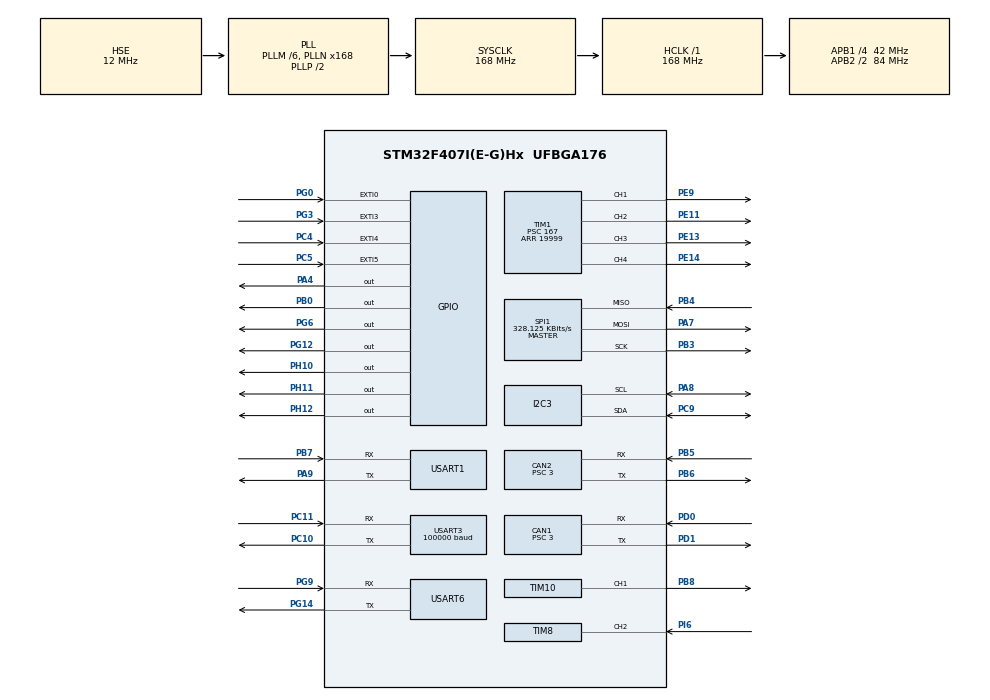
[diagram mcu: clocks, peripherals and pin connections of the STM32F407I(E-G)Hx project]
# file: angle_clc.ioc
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CAN1.BS1=CAN_BS1_10TQ
CAN1.BS2=CAN_BS2_3TQ
CAN1.CalculateBaudRate=1000000
CAN1.CalculateTimeBit=1000
CAN1.CalculateTimeQuantum=71.42857142857143
CAN1.Prescaler=3
CAN2.BS1=CAN_BS1_10TQ
CAN2.BS2=CAN_BS2_3TQ
CAN2.CalculateBaudRate=1000000
CAN2.CalculateTimeBit=1000
CAN2.CalculateTimeQuantum=71.42857142857143
CAN2.Prescaler=3
Dma.Request0=SPI1_RX
Dma.Request1=SPI1_TX
Dma.Request2=USART3_RX
Dma.Request3=USART1_RX
Dma.Request4=USART1_TX
Dma.Request5=USART6_RX
Dma.Request6=USART6_TX
Dma.SPI1_RX.0.Direction=DMA_PERIPH_TO_MEMORY
Dma.SPI1_RX.0.FIFOMode=DMA_FIFOMODE_DISABLE
Dma.SPI1_RX.0.Instance=DMA2_Stream2
Dma.SPI1_RX.0.MemDataAlignment=DMA_MDATAALIGN_BYTE
Dma.SPI1_RX.0.MemInc=DMA_MINC_ENABLE
Dma.SPI1_RX.0.Mode=DMA_NORMAL
Dma.SPI1_RX.0.PeriphDataAlignment=DMA_PDATAALIGN_BYTE
Dma.SPI1_RX.0.PeriphInc=DMA_PINC_DISABLE
Dma.SPI1_RX.0.Priority=DMA_PRIORITY_VERY_HIGH
Dma.SPI1_TX.1.Direction=DMA_MEMORY_TO_PERIPH
Dma.SPI1_TX.1.FIFOMode=DMA_FIFOMODE_DISABLE
Dma.SPI1_TX.1.Instance=DMA2_Stream3
Dma.SPI1_TX.1.MemDataAlignment=DMA_MDATAALIGN_BYTE
Dma.SPI1_TX.1.MemInc=DMA_MINC_ENABLE
Dma.SPI1_TX.1.Mode=DMA_NORMAL
Dma.SPI1_TX.1.PeriphDataAlignment=DMA_PDATAALIGN_BYTE
Dma.SPI1_TX.1.PeriphInc=DMA_PINC_DISABLE
Dma.SPI1_TX.1.Priority=DMA_PRIORITY_HIGH
Dma.USART1_RX.3.Direction=DMA_PERIPH_TO_MEMORY
Dma.USART1_RX.3.FIFOMode=DMA_FIFOMODE_DISABLE
Dma.USART1_RX.3.Instance=DMA2_Stream5
Dma.USART1_RX.3.MemDataAlignment=DMA_MDATAALIGN_BYTE
Dma.USART1_RX.3.MemInc=DMA_MINC_ENABLE
Dma.USART1_RX.3.Mode=DMA_NORMAL
Dma.USART1_RX.3.PeriphDataAlignment=DMA_PDATAALIGN_BYTE
Dma.USART1_RX.3.PeriphInc=DMA_PINC_DISABLE
Dma.USART1_RX.3.Priority=DMA_PRIORITY_LOW
Dma.USART1_TX.4.Direction=DMA_MEMORY_TO_PERIPH
Dma.USART1_TX.4.FIFOMode=DMA_FIFOMODE_DISABLE
Dma.USART1_TX.4.Instance=DMA2_Stream7
Dma.USART1_TX.4.MemDataAlignment=DMA_MDATAALIGN_BYTE
Dma.USART1_TX.4.MemInc=DMA_MINC_ENABLE
Dma.USART1_TX.4.Mode=DMA_NORMAL
Dma.USART1_TX.4.PeriphDataAlignment=DMA_PDATAALIGN_BYTE
Dma.USART1_TX.4.PeriphInc=DMA_PINC_DISABLE
Dma.USART1_TX.4.Priority=DMA_PRIORITY_LOW
Dma.USART3_RX.2.Direction=DMA_PERIPH_TO_MEMORY
Dma.USART3_RX.2.FIFOMode=DMA_FIFOMODE_DISABLE
Dma.USART3_RX.2.Instance=DMA1_Stream1
Dma.USART3_RX.2.MemDataAlignment=DMA_MDATAALIGN_BYTE
Dma.USART3_RX.2.MemInc=DMA_MINC_ENABLE
Dma.USART3_RX.2.Mode=DMA_NORMAL
Dma.USART3_RX.2.PeriphDataAlignment=DMA_PDATAALIGN_BYTE
Dma.USART3_RX.2.PeriphInc=DMA_PINC_DISABLE
Dma.USART3_RX.2.Priority=DMA_PRIORITY_LOW
Dma.USART6_RX.5.Direction=DMA_PERIPH_TO_MEMORY
Dma.USART6_RX.5.FIFOMode=DMA_FIFOMODE_DISABLE
Dma.USART6_RX.5.Instance=DMA2_Stream1
Dma.USART6_RX.5.MemDataAlignment=DMA_MDATAALIGN_BYTE
Dma.USART6_RX.5.MemInc=DMA_MINC_ENABLE
Dma.USART6_RX.5.Mode=DMA_NORMAL
Dma.USART6_RX.5.PeriphDataAlignment=DMA_PDATAALIGN_BYTE
Dma.USART6_RX.5.PeriphInc=DMA_PINC_DISABLE
Dma.USART6_RX.5.Priority=DMA_PRIORITY_HIGH
Dma.USART6_TX.6.Direction=DMA_MEMORY_TO_PERIPH
Dma.USART6_TX.6.FIFOMode=DMA_FIFOMODE_DISABLE
Dma.USART6_TX.6.Instance=DMA2_Stream6
Dma.USART6_TX.6.MemDataAlignment=DMA_MDATAALIGN_BYTE
Dma.USART6_TX.6.MemInc=DMA_MINC_ENABLE
Dma.USART6_TX.6.Mode=DMA_NORMAL
Dma.USART6_TX.6.PeriphDataAlignment=DMA_PDATAALIGN_BYTE
Dma.USART6_TX.6.PeriphInc=DMA_PINC_DISABLE
Dma.USART6_TX.6.Priority=DMA_PRIORITY_VERY_HIGH
FREERTOS.INCLUDE_xTaskGetHandle=1
FREERTOS.Tasks01=defaultTask,0,128,StartDefaultTask,Default,NULL,Dynamic,NULL,NULL;INS_TASK,3,128,INS_Task,As weak,NULL,Dynamic,NULL,NULL;try_try,0,128,Try_Try,As weak,NULL,Dynamic,NULL,NULL;CHASSISS_CALC,1,512,chassiss_calc,As weak,NULL,Dynamic,NULL,NULL;FSM_TASK,0,128,FSM_task,As weak,NULL,Dynamic,NULL,NULL;GIMBAL_CALC,0,128,gimbal_calc,As weak,NULL,Dynamic,NULL,NULL;ROAD_CALC,0,128,road_calc,As weak,NULL,Dynamic,NULL,NULL;C_TOSTM,0,128,c_tostm,As weak,NULL,Dynamic,NULL,NULL;LUENBERGER_CALC,3,128,Luenberger_calc,As weak,NULL,Dynamic,NULL,NULL;motor_3508_task,0,128,Motor_3508_task,As weak,NULL,Dynamic,NULL,NULL
I2C3.I2C_Mode=I2C_Fast
Mcu.Family=STM32F4
Mcu.Name=STM32F407I(E-G)Hx
Mcu.Package=UFBGA176
NVIC.CAN1_RX0_IRQn=true\:5\:0\:false\:false\:true\:true\:true\:true\:true
NVIC.CAN2_RX0_IRQn=true\:5\:0\:false\:false\:true\:true\:true\:true\:true
NVIC.DMA1_Stream1_IRQn=true\:5\:0\:false\:false\:true\:true\:false\:true\:true
NVIC.DMA2_Stream1_IRQn=true\:5\:0\:false\:false\:true\:true\:false\:true\:true
NVIC.DMA2_Stream2_IRQn=true\:5\:0\:false\:false\:true\:true\:false\:true\:true
NVIC.DMA2_Stream3_IRQn=true\:5\:0\:false\:false\:true\:true\:false\:true\:true
NVIC.DMA2_Stream5_IRQn=true\:5\:0\:false\:false\:true\:true\:false\:true\:true
NVIC.DMA2_Stream6_IRQn=true\:5\:0\:false\:false\:true\:true\:false\:true\:true
NVIC.DMA2_Stream7_IRQn=true\:5\:0\:false\:false\:true\:true\:false\:true\:true
NVIC.EXTI0_IRQn=true\:5\:0\:false\:false\:true\:true\:true\:true\:true
NVIC.EXTI3_IRQn=true\:5\:0\:false\:false\:true\:true\:true\:true\:true
NVIC.EXTI4_IRQn=true\:5\:0\:false\:false\:true\:true\:true\:true\:true
NVIC.EXTI9_5_IRQn=true\:5\:0\:false\:false\:true\:true\:true\:true\:true
NVIC.PriorityGroup=NVIC_PRIORITYGROUP_4
NVIC.TIM2_IRQn=true\:15\:0\:false\:false\:true\:false\:false\:true\:true
NVIC.TIM8_CC_IRQn=true\:5\:0\:false\:false\:true\:true\:true\:true\:true
NVIC.TIM8_TRG_COM_TIM14_IRQn=true\:5\:0\:false\:false\:true\:true\:true\:true\:true
NVIC.TimeBase=TIM2_IRQn
NVIC.TimeBaseIP=TIM2
NVIC.USART1_IRQn=true\:5\:0\:false\:false\:true\:true\:true\:true\:true
NVIC.USART3_IRQn=true\:5\:0\:false\:false\:true\:true\:true\:true\:true
NVIC.USART6_IRQn=true\:5\:0\:false\:false\:true\:true\:true\:true\:true
PA13.Mode=Serial_Wire
PA13.Signal=SYS_JTMS-SWDIO
PA14.Mode=Serial_Wire
PA14.Signal=SYS_JTCK-SWCLK
PA4.GPIO_PuPd=GPIO_PULLUP
PA4.GPIO_Speed=GPIO_SPEED_FREQ_HIGH
PA4.PinState=GPIO_PIN_SET
PA4.Signal=GPIO_Output
PA7.Mode=Full_Duplex_Master
PA7.Signal=SPI1_MOSI
PA8.Mode=I2C
PA8.Signal=I2C3_SCL
PA9.Mode=Asynchronous
PA9.Signal=USART1_TX
PB0.GPIO_PuPd=GPIO_PULLUP
PB0.GPIO_Speed=GPIO_SPEED_FREQ_HIGH
PB0.PinState=GPIO_PIN_SET
PB0.Signal=GPIO_Output
PB3.Mode=Full_Duplex_Master
PB3.Signal=SPI1_SCK
PB4.Mode=Full_Duplex_Master
PB4.Signal=SPI1_MISO
PB5.Mode=CAN_Activate
PB5.Signal=CAN2_RX
PB6.Mode=CAN_Activate
PB6.Signal=CAN2_TX
PB7.Mode=Asynchronous
PB7.Signal=USART1_RX
PB8.Signal=S_TIM10_CH1
PC10.Mode=Asynchronous
PC10.Signal=USART3_TX
PC11.Mode=Asynchronous
PC11.Signal=USART3_RX
PC4.GPIO_PuPd=GPIO_PULLUP
PC4.Signal=GPXTI4
PC5.GPIO_PuPd=GPIO_PULLUP
PC5.Signal=GPXTI5
PC9.Mode=I2C
PC9.Signal=I2C3_SDA
PD0.Mode=CAN_Activate
PD0.Signal=CAN1_RX
PD1.Mode=CAN_Activate
PD1.Signal=CAN1_TX
PE11.Signal=S_TIM1_CH2
PE13.Signal=S_TIM1_CH3
PE14.Signal=S_TIM1_CH4
PE9.Signal=S_TIM1_CH1
PG0.GPIO_PuPd=GPIO_PULLUP
PG0.Signal=GPXTI0
PG12.Signal=GPIO_Output
PG14.Mode=Asynchronous
PG14.Signal=USART6_TX
PG3.GPIO_PuPd=GPIO_NOPULL
PG3.Signal=GPXTI3
PG6.Signal=GPIO_Output
PG9.Mode=Asynchronous
PG9.Signal=USART6_RX
PH0-OSC_IN.Mode=HSE-External-Oscillator
PH0-OSC_IN.Signal=RCC_OSC_IN
PH1-OSC_OUT.Mode=HSE-External-Oscillator
PH1-OSC_OUT.Signal=RCC_OSC_OUT
PH10.GPIO_PuPd=GPIO_PULLDOWN
PH10.GPIO_Speed=GPIO_SPEED_FREQ_HIGH
PH10.Signal=GPIO_Output
PH11.GPIO_PuPd=GPIO_PULLDOWN
PH11.GPIO_Speed=GPIO_SPEED_FREQ_VERY_HIGH
PH11.Signal=GPIO_Output
PH12.GPIO_PuPd=GPIO_PULLDOWN
PH12.GPIO_Speed=GPIO_SPEED_FREQ_VERY_HIGH
PH12.Signal=GPIO_Output
PI6.Signal=S_TIM8_CH2
ProjectManager.HeapSize=0x200
ProjectManager.StackSize=0x400
ProjectManager.TargetToolchain=MDK-ARM V5.32
RCC.48MHZClocksFreq_Value=84000000
RCC.AHBFreq_Value=168000000
RCC.APB1CLKDivider=RCC_HCLK_DIV4
RCC.APB1Freq_Value=42000000
RCC.APB1TimFreq_Value=84000000
RCC.APB2CLKDivider=RCC_HCLK_DIV2
RCC.APB2Freq_Value=84000000
RCC.APB2TimFreq_Value=168000000
RCC.CortexFreq_Value=168000000
RCC.HCLKFreq_Value=168000000
RCC.HSE_VALUE=12000000
RCC.HSI_VALUE=16000000
RCC.LSE_VALUE=32768
RCC.PLLM=6
RCC.PLLN=168
RCC.PLLSourceVirtual=RCC_PLLSOURCE_HSE
RCC.SYSCLKFreq_VALUE=168000000
RCC.SYSCLKSource=RCC_SYSCLKSOURCE_PLLCLK
RCC.VCOOutputFreq_Value=336000000
SH.S_TIM10_CH1.0=TIM10_CH1,Output Compare1 CH1
SH.S_TIM1_CH1.0=TIM1_CH1,PWM Generation1 CH1
SH.S_TIM1_CH2.0=TIM1_CH2,PWM Generation2 CH2
SH.S_TIM1_CH3.0=TIM1_CH3,PWM Generation3 CH3
SH.S_TIM1_CH4.0=TIM1_CH4,PWM Generation4 CH4
SH.S_TIM8_CH2.0=TIM8_CH2,Input_Capture2_from_TI2
SPI1.BaudRatePrescaler=SPI_BAUDRATEPRESCALER_256
SPI1.CLKPhase=SPI_PHASE_2EDGE
SPI1.CLKPolarity=SPI_POLARITY_HIGH
SPI1.CalculateBaudRate=328.125 KBits/s
SPI1.Direction=SPI_DIRECTION_2LINES
SPI1.Mode=SPI_MODE_MASTER
SPI1.VirtualType=VM_MASTER
TIM1.Channel-PWM\ Generation1\ CH1=TIM_CHANNEL_1
TIM1.Channel-PWM\ Generation2\ CH2=TIM_CHANNEL_2
TIM1.Channel-PWM\ Generation3\ CH3=TIM_CHANNEL_3
TIM1.Channel-PWM\ Generation4\ CH4=TIM_CHANNEL_4
TIM1.Period=19999
TIM1.Prescaler=167
TIM10.Channel=TIM_CHANNEL_1
TIM14.Period=999
TIM14.Prescaler=83
TIM8.Channel-Input_Capture2_from_TI2=TIM_CHANNEL_2
TIM8.ICPolarity_CH2=TIM_INPUTCHANNELPOLARITY_FALLING
TIM8.Prescaler=167
USART1.VirtualMode=VM_ASYNC
USART3.BaudRate=100000
USART3.VirtualMode=VM_ASYNC
USART6.VirtualMode=VM_ASYNC
VP_FREERTOS_VS_CMSIS_V1.Mode=CMSIS_V1
VP_SYS_VS_tim2.Mode=TIM2
VP_TIM10_VS_ClockSourceINT.Mode=Enable_Timer
VP_TIM14_VS_ClockSourceINT.Mode=Enable_Timer
board=custom

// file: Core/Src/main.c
/* USER CODE BEGIN Header */
/**
  ******************************************************************************
  * @file           : main.c
  * @brief          : Main program body
  ******************************************************************************
  * @attention
  *
  * Copyright (c) 2026 STMicroelectronics.
  * All rights reserved.
  *
  * This software is licensed under terms that can be found in the LICENSE file
  * in the root directory of this software component.
  * If no LICENSE file comes with this software, it is provided AS-IS.
  *
  ******************************************************************************
  */
/* USER CODE END Header */
#include "main.h"
#include "cmsis_os.h"
#include "can.h"
#include "dma.h"
#include "i2c.h"
#include "spi.h"
#include "tim.h"
#include "usart.h"
#include "gpio.h"

/* USER CODE BEGIN Includes */
#include "bsp_can.h"
#include "bsp_delay.h"
#include "Luenberger.h"
#include "chassiss_calc.h"
/* USER CODE END Includes */

/* USER CODE BEGIN PTD */
extern speed_f speed;
extern speed_f speed_l;
extern position_ecd position_0,position_1,position_2,position_3,position_g;
extern Luenberger_data Luenberger;
extern L_t L;
void Luenberger_cal(Luenberger_data *l , position_ecd *p , L_t *L);
/* USER CODE END PTD */

/* USER CODE BEGIN PV */
extern TIM_HandleTypeDef htim14;
/* USER CODE END PV */

void SystemClock_Config(void);
void MX_FREERTOS_Init(void);

int main(void)
{

  /* MCU Configuration--------------------------------------------------------*/

  /* Reset of all peripherals, Initializes the Flash interface and the Systick. */
  HAL_Init();

  /* Configure the system clock */
  SystemClock_Config();

  /* USER CODE BEGIN SysInit */
	delay_init();
  /* USER CODE END SysInit */

  /* Initialize all configured peripherals */
  MX_GPIO_Init();
  MX_DMA_Init();
  MX_I2C3_Init();
  MX_SPI1_Init();
  MX_TIM10_Init();
  MX_CAN2_Init();
  MX_CAN1_Init();
  MX_USART3_UART_Init();
  MX_USART1_UART_Init();
  MX_USART6_UART_Init();
  MX_TIM8_Init();
  MX_TIM14_Init();
  MX_TIM1_Init();
  /* USER CODE BEGIN 2 */
	can_filter_init();
	HAL_TIM_Base_Start_IT(&htim14);
  /* USER CODE END 2 */

  /* Call init function for freertos objects (in cmsis_os2.c) */
  MX_FREERTOS_Init();

  /* Start scheduler */
  osKernelStart();

  /* We should never get here as control is now taken by the scheduler */

  /* Infinite loop */
  while (1)
  {

  }
}

void SystemClock_Config(void)
{
  RCC_OscInitTypeDef RCC_OscInitStruct = {0};
  RCC_ClkInitTypeDef RCC_ClkInitStruct = {0};

  /** Configure the main internal regulator output voltage
  */
  __HAL_RCC_PWR_CLK_ENABLE();
  __HAL_PWR_VOLTAGESCALING_CONFIG(PWR_REGULATOR_VOLTAGE_SCALE1);

  /** Initializes the RCC Oscillators according to the specified parameters
  * in the RCC_OscInitTypeDef structure.
  */
  RCC_OscInitStruct.OscillatorType = RCC_OSCILLATORTYPE_HSE;
  RCC_OscInitStruct.HSEState = RCC_HSE_ON;
  RCC_OscInitStruct.PLL.PLLState = RCC_PLL_ON;
  RCC_OscInitStruct.PLL.PLLSource = RCC_PLLSOURCE_HSE;
  RCC_OscInitStruct.PLL.PLLM = 6;
  RCC_OscInitStruct.PLL.PLLN = 168;
  RCC_OscInitStruct.PLL.PLLP = RCC_PLLP_DIV2;
  RCC_OscInitStruct.PLL.PLLQ = 4;
  if (HAL_RCC_OscConfig(&RCC_OscInitStruct) != HAL_OK)
  {
    Error_Handler();
  }

  /** Initializes the CPU, AHB and APB buses clocks
  */
  RCC_ClkInitStruct.ClockType = RCC_CLOCKTYPE_HCLK|RCC_CLOCKTYPE_SYSCLK
                              |RCC_CLOCKTYPE_PCLK1|RCC_CLOCKTYPE_PCLK2;
  RCC_ClkInitStruct.SYSCLKSource = RCC_SYSCLKSOURCE_PLLCLK;
  RCC_ClkInitStruct.AHBCLKDivider = RCC_SYSCLK_DIV1;
  RCC_ClkInitStruct.APB1CLKDivider = RCC_HCLK_DIV4;
  RCC_ClkInitStruct.APB2CLKDivider = RCC_HCLK_DIV2;

  if (HAL_RCC_ClockConfig(&RCC_ClkInitStruct, FLASH_LATENCY_5) != HAL_OK)
  {
    Error_Handler();
  }
}

void HAL_TIM_PeriodElapsedCallback(TIM_HandleTypeDef *htim)
{
  if (htim->Instance == TIM2)
  {
    HAL_IncTick();
  }
  /* USER CODE BEGIN Callback 1 */
	if(htim->Instance == TIM14){
			if(fabs(speed.speed_vechicle)>30){
		Luenberger_cal(&Luenberger , &position_g , &L);
			}
	}
  /* USER CODE END Callback 1 */
}

void Error_Handler(void)
{
  __disable_irq();
  while (1)
  {
  }
}

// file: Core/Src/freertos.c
/* USER CODE BEGIN Header */
/**
  ******************************************************************************
  * File Name          : freertos.c
  * Description        : Code for freertos applications
  ******************************************************************************
  * @attention
  *
  * Copyright (c) 2026 STMicroelectronics.
  * All rights reserved.
  *
  * This software is licensed under terms that can be found in the LICENSE file
  * in the root directory of this software component.
  * If no LICENSE file comes with this software, it is provided AS-IS.
  *
  ******************************************************************************
  */
/* USER CODE END Header */

#include "FreeRTOS.h"
#include "task.h"
#include "main.h"
#include "cmsis_os.h"

osThreadId defaultTaskHandle;
osThreadId INS_TASKHandle;
osThreadId try_tryHandle;
osThreadId CHASSISS_CALCHandle;
osThreadId FSM_TASKHandle;
osThreadId GIMBAL_CALCHandle;
osThreadId ROAD_CALCHandle;
osThreadId C_TOSTMHandle;
osThreadId LUENBERGER_CALCHandle;
osThreadId motor_3508_taskHandle;

void StartDefaultTask(void const * argument);
void INS_Task(void const * argument);
void Try_Try(void const * argument);
void chassiss_calc(void const * argument);
void FSM_task(void const * argument);
void gimbal_calc(void const * argument);
void road_calc(void const * argument);
void c_tostm(void const * argument);
void Luenberger_calc(void const * argument);
void Motor_3508_task(void const * argument);

void MX_FREERTOS_Init(void); /* (MISRA C 2004 rule 8.1) */

/* GetIdleTaskMemory prototype (linked to static allocation support) */
void vApplicationGetIdleTaskMemory( StaticTask_t **ppxIdleTaskTCBBuffer, StackType_t **ppxIdleTaskStackBuffer, uint32_t *pulIdleTaskStackSize );

/* USER CODE BEGIN GET_IDLE_TASK_MEMORY */
static StaticTask_t xIdleTaskTCBBuffer;
static StackType_t xIdleStack[configMINIMAL_STACK_SIZE];

void vApplicationGetIdleTaskMemory( StaticTask_t **ppxIdleTaskTCBBuffer, StackType_t **ppxIdleTaskStackBuffer, uint32_t *pulIdleTaskStackSize )
{
  *ppxIdleTaskTCBBuffer = &xIdleTaskTCBBuffer;
  *ppxIdleTaskStackBuffer = &xIdleStack[0];
  *pulIdleTaskStackSize = configMINIMAL_STACK_SIZE;
  /* place for user code */
}
/* USER CODE END GET_IDLE_TASK_MEMORY */

void MX_FREERTOS_Init(void) {

  /* Create the thread(s) */
  /* definition and creation of defaultTask */
  osThreadDef(defaultTask, StartDefaultTask, osPriorityNormal, 0, 128);
  defaultTaskHandle = osThreadCreate(osThread(defaultTask), NULL);

  /* definition and creation of INS_TASK */
  osThreadDef(INS_TASK, INS_Task, osPriorityRealtime, 0, 128);
  INS_TASKHandle = osThreadCreate(osThread(INS_TASK), NULL);

  /* definition and creation of try_try */
  osThreadDef(try_try, Try_Try, osPriorityNormal, 0, 128);
  try_tryHandle = osThreadCreate(osThread(try_try), NULL);

  /* definition and creation of CHASSISS_CALC */
  osThreadDef(CHASSISS_CALC, chassiss_calc, osPriorityAboveNormal, 0, 512);
  CHASSISS_CALCHandle = osThreadCreate(osThread(CHASSISS_CALC), NULL);

  /* definition and creation of FSM_TASK */
  osThreadDef(FSM_TASK, FSM_task, osPriorityNormal, 0, 128);
  FSM_TASKHandle = osThreadCreate(osThread(FSM_TASK), NULL);

  /* definition and creation of GIMBAL_CALC */
  osThreadDef(GIMBAL_CALC, gimbal_calc, osPriorityNormal, 0, 128);
  GIMBAL_CALCHandle = osThreadCreate(osThread(GIMBAL_CALC), NULL);

  /* definition and creation of ROAD_CALC */
  osThreadDef(ROAD_CALC, road_calc, osPriorityNormal, 0, 128);
  ROAD_CALCHandle = osThreadCreate(osThread(ROAD_CALC), NULL);

  /* definition and creation of C_TOSTM */
  osThreadDef(C_TOSTM, c_tostm, osPriorityNormal, 0, 128);
  C_TOSTMHandle = osThreadCreate(osThread(C_TOSTM), NULL);

  /* definition and creation of LUENBERGER_CALC */
  osThreadDef(LUENBERGER_CALC, Luenberger_calc, osPriorityRealtime, 0, 128);
  LUENBERGER_CALCHandle = osThreadCreate(osThread(LUENBERGER_CALC), NULL);

  /* definition and creation of motor_3508_task */
  osThreadDef(motor_3508_task, Motor_3508_task, osPriorityNormal, 0, 128);
  motor_3508_taskHandle = osThreadCreate(osThread(motor_3508_task), NULL);

}

void StartDefaultTask(void const * argument)
{
  for(;;)
  {
    osDelay(1);
  }
}

__weak void INS_Task(void const * argument)
{
  for(;;)
  {
    osDelay(1);
  }
}

__weak void Try_Try(void const * argument)
{
  for(;;)
  {
    osDelay(1);
  }
}

__weak void chassiss_calc(void const * argument)
{
  for(;;)
  {
    osDelay(1);
  }
}

__weak void FSM_task(void const * argument)
{
  for(;;)
  {
    osDelay(1);
  }
}

__weak void gimbal_calc(void const * argument)
{
  for(;;)
  {
    osDelay(1);
  }
}

__weak void road_calc(void const * argument)
{
  for(;;)
  {
    osDelay(1);
  }
}

__weak void c_tostm(void const * argument)
{
  for(;;)
  {
    osDelay(1);
  }
}

__weak void Luenberger_calc(void const * argument)
{
  for(;;)
  {
    osDelay(1);
  }
}

__weak void Motor_3508_task(void const * argument)
{
  for(;;)
  {
    osDelay(1);
  }
}
